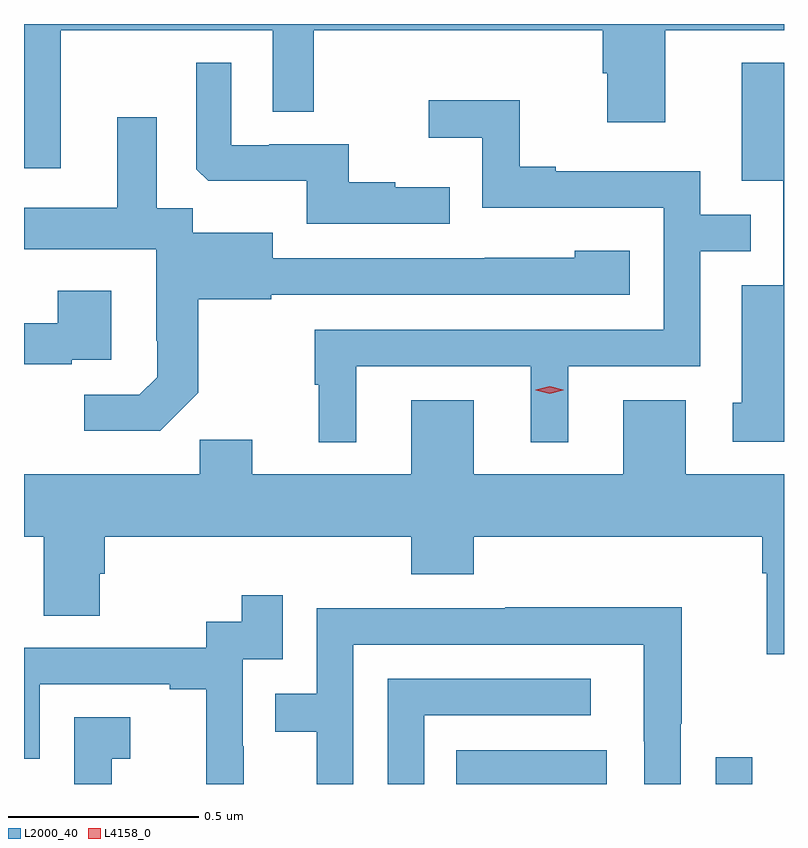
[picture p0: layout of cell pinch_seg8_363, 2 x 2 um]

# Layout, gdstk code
import gdstk
lib = gdstk.Library(unit=1e-6, precision=1e-09)
def R(c, l, rs):  # rectangles x0, y0, x1, y1
    for r in rs: c.add(gdstk.rectangle(r[:2], r[2:], *l))
def P(c, l, *ps):  # polygons
    for p in ps: c.add(gdstk.Polygon(p, *l))
L2000_40 = (2000, 40)
L4158_0 = (4158, 0)

pinch_seg8_363 = lib.new_cell('pinch_seg8_363')
R(pinch_seg8_363, L2000_40, [(469.246,1153.145,469.642,1153.234), (469.929,1153.145,470.025,1153.216)])
P(pinch_seg8_363, L2000_40, [(468.205,1155.128),(468.762,1155.128),(468.762,1154.914),(468.871,1154.914),(468.871,1155.128),(469.631,1155.128),(469.631,1155.015),(469.643,1155.015),(469.643,1154.886),(469.795,1154.886),(469.795,1155.128),(470.108,1155.128),(470.108,1155.145),(468.108,1155.145),(468.108,1154.766),(468.205,1154.766)],
  [(470.108,1155.043),(469.997,1155.043),(469.997,1154.733),(470.106,1154.733),(470.106,1154.457),(469.997,1154.457),(469.997,1154.148),(469.973,1154.148),(469.973,1154.046),(470.108,1154.046)],
  [(469.229,1154.716),(469.085,1154.716),(469.085,1154.728),(468.962,1154.728),(468.962,1154.829),(468.754,1154.829),(468.754,1154.826),(468.654,1154.826),(468.654,1155.043),(468.561,1155.043),(468.561,1154.763),(468.593,1154.732),(468.852,1154.732),(468.852,1154.619),(469.229,1154.619)],
  [(468.982,1154.244),(469.442,1154.244),(469.442,1154.045),(469.54,1154.045),(469.54,1154.244),(469.887,1154.244),(469.887,1154.547),(470.021,1154.547),(470.021,1154.643),(469.887,1154.643),(469.887,1154.757),(469.507,1154.757),(469.507,1154.77),(469.413,1154.77),(469.413,1154.945),(469.173,1154.945),(469.173,1154.846),(469.314,1154.846),(469.314,1154.661),(469.791,1154.661),(469.791,1154.34),(468.873,1154.34),(468.873,1154.196),(468.884,1154.196),(468.884,1154.045),(468.982,1154.045)],
  [(468.567,1154.175),(468.567,1154.421),(468.759,1154.421),(468.759,1154.433),(469.702,1154.433),(469.702,1154.548),(469.557,1154.548),(469.557,1154.53),(469.321,1154.53),(469.321,1154.529),(468.763,1154.529),(468.763,1154.596),(468.552,1154.596),(468.552,1154.66),(468.457,1154.66),(468.457,1154.899),(468.353,1154.899),(468.353,1154.662),(468.108,1154.662),(468.108,1154.552),(468.456,1154.552),(468.456,1154.311),(468.458,1154.311),(468.458,1154.216),(468.411,1154.169),(468.267,1154.169),(468.267,1154.075),(468.467,1154.075)],
  [(468.233,1154.262),(468.337,1154.262),(468.337,1154.443),(468.197,1154.443),(468.197,1154.358),(468.108,1154.358),(468.108,1154.25),(468.233,1154.25)],
  [(470.108,1153.96),(469.849,1153.96),(469.849,1154.155),(469.685,1154.155),(469.685,1153.96),(469.291,1153.96),(469.291,1154.155),(469.127,1154.155),(469.127,1153.96),(468.709,1153.96),(468.709,1154.051),(468.571,1154.051),(468.571,1153.96),(468.108,1153.96),(468.108,1153.796),(468.16,1153.796),(468.16,1153.588),(468.307,1153.588),(468.307,1153.698),(468.32,1153.698),(468.32,1153.796),(469.127,1153.796),(469.127,1153.697),(469.292,1153.697),(469.292,1153.796),(470.051,1153.796),(470.051,1153.7),(470.063,1153.7),(470.063,1153.487),(470.108,1153.487)],
  [(468.686,1153.244),(468.684,1153.244),(468.684,1153.473),(468.789,1153.473),(468.789,1153.642),(468.681,1153.642),(468.681,1153.572),(468.588,1153.572),(468.588,1153.503),(468.108,1153.503),(468.108,1153.212),(468.15,1153.212),(468.15,1153.407),(468.491,1153.407),(468.491,1153.395),(468.587,1153.395),(468.587,1153.145),(468.686,1153.145)],
  [(468.975,1153.512),(469.739,1153.512),(469.739,1153.258),(469.74,1153.258),(469.74,1153.145),(469.836,1153.145),(469.836,1153.303),(469.839,1153.303),(469.839,1153.61),(469.375,1153.61),(469.375,1153.608),(468.879,1153.608),(468.879,1153.383),(468.769,1153.383),(468.769,1153.282),(468.879,1153.282),(468.879,1153.145),(468.975,1153.145)],
  [(469.161,1153.326),(469.6,1153.326),(469.6,1153.422),(469.065,1153.422),(469.065,1153.145),(469.161,1153.145)],
  [(468.339,1153.211),(468.388,1153.211),(468.388,1153.321),(468.24,1153.321),(468.24,1153.145),(468.339,1153.145)])
P(pinch_seg8_363, L4158_0, [(469.491,1154.172),(469.455,1154.181),(469.455,1154.182),(469.455,1154.182),(469.491,1154.192),(469.527,1154.182),(469.527,1154.182),(469.527,1154.181)])

lib.write_gds('pinch_seg8_363.gds')
